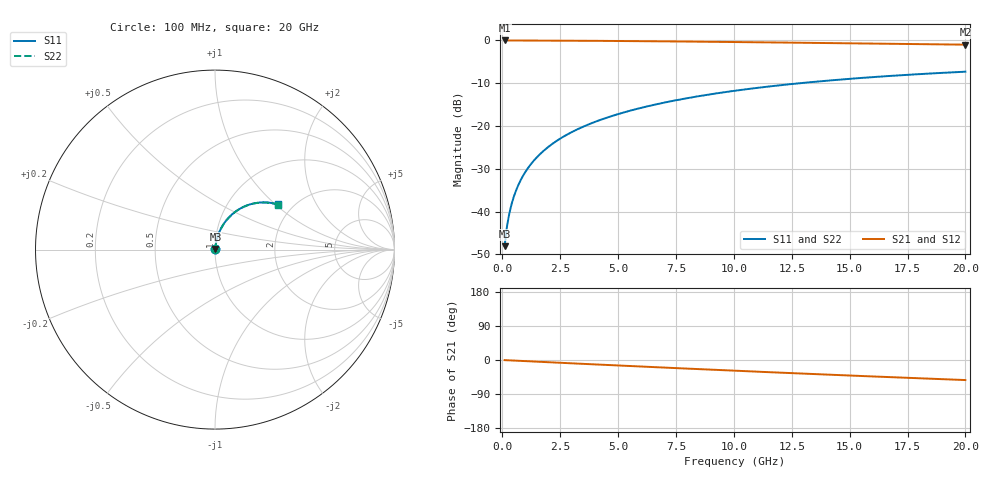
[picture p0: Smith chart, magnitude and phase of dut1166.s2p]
! Touchstone file exported from HFSS 2026.1.0
!  File:  C:/ffzhzh/LocalFiles/Ansys_Project_Files/temp_train_TMRDL_1166_1783162375_22436.aedt
!  Generated:  06:54:28 PM Jul  4, 2026
!  Design:  TMRDL
!  Project:  temp_train_TMRDL_1166_1783162375_22436
! Variables:
!  h_bsmrdl = 2um
!  h_ox = 20um
!  h_rdl = 5um
!  h_sub = 80um
!  h_tmrdl = 5.72um
!  h_tsv = 80um
!  h_via = 3um
!  l_bsmrdl = 300um
!  l_sub = 1228.64um
!  l_tmrdl = 828.64um
!  m_sub = 200um
!  pitch = 51.49um
!  r_tsv = 6um
!  s_tmrdl = 10um
!  w_bsmrdl = 18um
!  w_sub = 500um
!  w_tmrdl = 23.01um
!  x_tsv_center1 = 840.145um
!  x_tsv_center2 = 1158.145um
!  x_tsv_center3 = 2009.795um
!  x_tsv_center4 = 2327.795um
!  x_tsv_center5 = 3179.445um
!  x_tsv_center6 = 3497.445um
# GHz S MA R 50.000000
! Terminal data exported
! Port[1] = TM_RDL1_1_T1
! Port[2] = TM_RDL1_1_T2
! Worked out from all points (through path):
!   200 points, 100 MHz to 20 GHz, reference 50 ohm
!   highest |S21| = -0.02 dB at 100 MHz (marker M1); lowest = -1.0 dB at 20 GHz (marker M2)
!   group delay of S21, straight-line fit = 7.35 ps
!   lowest |S11| = -48.1 dB at 100 MHz (marker M3), VSWR 1.01, Z = 50.2 + j0.312 ohm
!   |S11| at or under -10 dB: start of sweep to 12.87 GHz
!   |S22| runs from -48.1 to -7.3 dB; largest |S21 - S12| = 1.6e-14
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0.1  0.003942 52.1  0.9976 -0.3  0.9976 -0.3  0.003942 52.1
! Gamma 0 0 0 0
! Port Impedance 50 0 50 0
0.2  0.006632 66.4  0.9974 -0.6  0.9974 -0.6  0.006632 66.4
0.3  0.009403 72.2  0.9972 -0.9  0.9972 -0.9  0.009403 72.2
0.4  0.01219 75.3  0.9971 -1.2  0.9971 -1.2  0.01219 75.3
0.5  0.01499 77.2  0.997 -1.5  0.997 -1.5  0.01499 77.2
0.7  0.02062 79.4  0.9968 -2.1  0.9968 -2.1  0.02062 79.3
0.8  0.02345 79.9  0.9966 -2.4  0.9966 -2.4  0.02345 79.9
1  0.02912 80.6  0.9964 -3.0  0.9964 -3.0  0.02912 80.6
1.2  0.03479 80.8  0.996 -3.6  0.996 -3.6  0.03479 80.8
1.4  0.04044 80.8  0.9957 -4.1  0.9957 -4.1  0.04044 80.8
1.7  0.04889 80.5  0.995 -5.0  0.995 -5.0  0.04889 80.5
2  0.05728 80.0  0.9943 -5.9  0.9943 -5.9  0.05728 80.0
2.7  0.07661 78.5  0.9923 -7.9  0.9923 -7.9  0.07661 78.5
3.5  0.09824 76.5  0.9895 -10.2  0.9895 -10.2  0.09825 76.5
4.2  0.1168 74.7  0.9869 -12.2  0.9869 -12.2  0.1168 74.7
5  0.1376 72.6  0.9835 -14.5  0.9835 -14.5  0.1376 72.6
6.8  0.1827 68.0  0.975 -19.5  0.975 -19.5  0.1827 67.9
8.3  0.2185 64.1  0.9669 -23.6  0.9669 -23.6  0.2185 64.0
10.1  0.2592 59.5  0.9561 -28.4  0.9561 -28.4  0.2592 59.4
13.4  0.3263 51.3  0.9346 -37.0  0.9346 -37.0  0.3264 51.1
16.7  0.3835 43.3  0.9123 -45.1  0.9123 -45.1  0.3835 43.2
20  0.4305 35.7  0.8911 -52.9  0.8911 -52.9  0.4305 35.5
